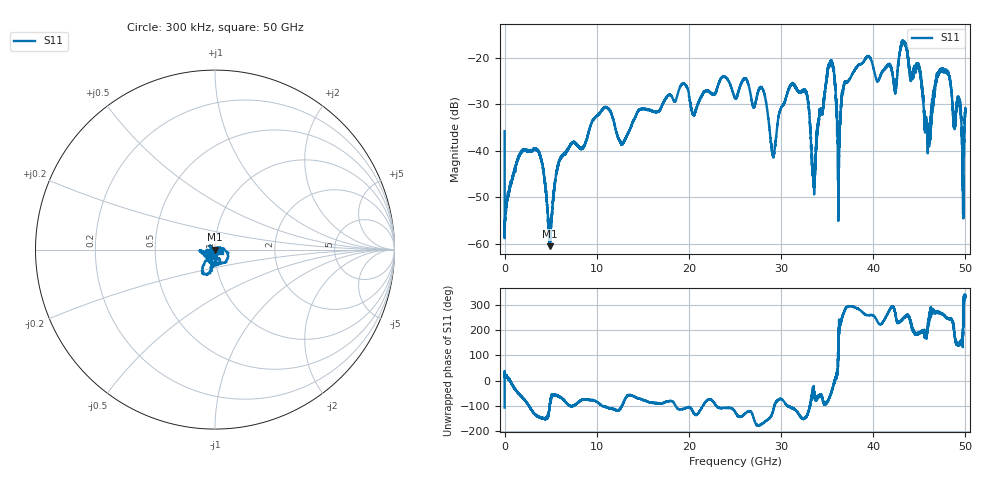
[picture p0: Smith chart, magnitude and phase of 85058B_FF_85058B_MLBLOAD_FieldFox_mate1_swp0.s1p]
!Created with skrf (http://scikit-rf.org).
# Hz S RI R 50.0
!freq ReS11 ImS11
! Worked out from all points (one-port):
!   10001 points, 300 kHz to 50 GHz, reference 50 ohm
!   lowest |S11| = -60.5 dB at 4.905 GHz (marker M1), VSWR 1.00, Z = 50 - j0.089 ohm
!   |S11| at or under -10 dB: start of sweep to end of sweep
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300000  -0.00496 -0.0154
2.552985e8  0.00284 0.000727
1.70029e9  0.00486 -0.00801
3.550279e9  -0.00787 -0.00625
4.905271e9  -0.000298 -0.000891
6.250262e9  0.00275 -0.00842
1.090023e10  -0.0077 -0.0279
1.250022e10  -0.00536 -0.0116
1.875019e10  -0.0141 -0.0369
2.500015e10  -0.021 -0.0302
2.796013e10  -0.0463 -0.00704
2.915513e10  -0.004 -0.00741
3.125011e10  -0.018 -0.049
3.27601e10  -0.0347 -0.0251
3.35451e10  0.00325 -0.00339
3.525009e10  0.0296 -0.077
3.569509e10  0.0707 -0.0199
3.623508e10  -0.00534 0.00239
3.676508e10  -0.00327 -0.0484
3.750008e10  0.0268 -0.0532
4.236505e10  -3.76e-05 -0.042
4.375004e10  -0.0181 -0.1035
4.498503e10  -0.075 -0.0148
4.590502e10  -0.0112 -0.0077
4.749002e10  -0.00355 -0.0743
4.931e10  -0.0255 0.0157
4.969e10  -0.00853 0.00409
5e10  0.0259 -0.0104
